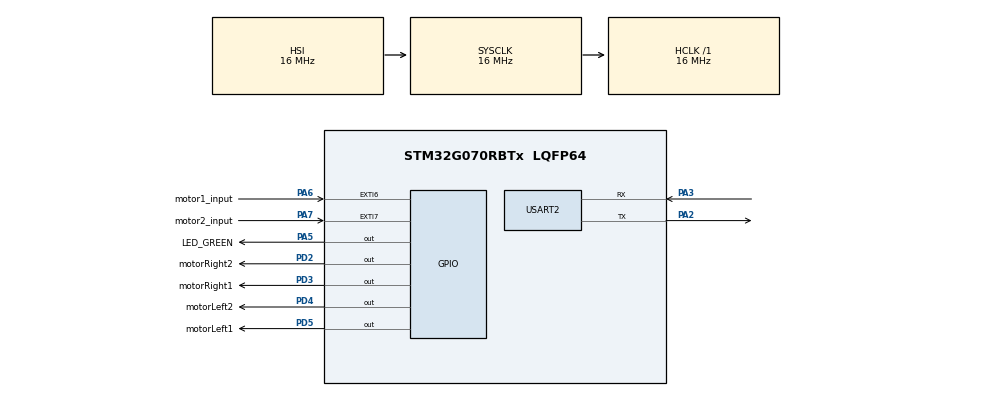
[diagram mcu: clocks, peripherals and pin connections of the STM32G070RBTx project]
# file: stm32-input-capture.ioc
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Mcu.Family=STM32G0
Mcu.Name=STM32G070RBTx
Mcu.Package=LQFP64
NVIC.EXTI4_15_IRQn=true\:0\:0\:false\:false\:true\:true\:true\:true
PA13.GPIO_Label=TMS
PA13.Mode=Serial_Wire
PA13.Signal=SYS_SWDIO
PA14-BOOT0.GPIO_Label=TCK
PA14-BOOT0.Mode=Serial_Wire
PA14-BOOT0.Signal=SYS_SWCLK
PA2.GPIO_PuPd=GPIO_PULLUP
PA2.Mode=Asynchronous
PA2.Signal=USART2_TX
PA3.GPIO_PuPd=GPIO_PULLUP
PA3.Mode=Asynchronous
PA3.Signal=USART2_RX
PA5.GPIO_Label=LED_GREEN
PA5.GPIO_Speed=GPIO_SPEED_FREQ_HIGH
PA5.Signal=GPIO_Output
PA6.GPIO_Label=motor1_input
PA6.GPIO_PuPd=GPIO_PULLDOWN
PA6.Signal=GPXTI6
PA7.GPIO_Label=motor2_input
PA7.GPIO_PuPd=GPIO_PULLDOWN
PA7.Signal=GPXTI7
PC13.Mode=SYS_WakeUp1
PC13.Signal=SYS_WKUP2
PC14-OSC32_IN\ (PC14).Mode=LSE-External-Oscillator
PC14-OSC32_IN\ (PC14).Signal=RCC_OSC32_IN
PC15-OSC32_OUT\ (PC15).Mode=LSE-External-Oscillator
PC15-OSC32_OUT\ (PC15).Signal=RCC_OSC32_OUT
PD2.GPIO_Label=motorRight2
PD2.Signal=GPIO_Output
PD3.GPIO_Label=motorRight1
PD3.Signal=GPIO_Output
PD4.GPIO_Label=motorLeft2
PD4.Signal=GPIO_Output
PD5.GPIO_Label=motorLeft1
PD5.Signal=GPIO_Output
PF0-OSC_IN\ (PF0).GPIO_Label=MCO
PF0-OSC_IN\ (PF0).Mode=HSE-External-Clock-Source
PF0-OSC_IN\ (PF0).Signal=RCC_OSC_IN
ProjectManager.HeapSize=0x200
ProjectManager.StackSize=0x400
ProjectManager.TargetToolchain=STM32CubeIDE
RCC.AHBFreq_Value=16000000
RCC.CortexFreq_Value=16000000
RCC.EXTERNAL_CLOCK_VALUE=12288000
RCC.HCLKFreq_Value=16000000
RCC.HSE_VALUE=8000000
RCC.HSI_VALUE=16000000
RCC.SYSCLKFreq_VALUE=16000000
RCC.VCOOutputFreq_Value=128000000
USART2.VirtualMode-Asynchronous=VM_ASYNC
USART2.WordLength=WORDLENGTH_7B
board=NUCLEO-G070RB

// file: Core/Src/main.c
/* USER CODE BEGIN Header */
/**
  ******************************************************************************
  * @file           : main.c
  * @brief          : Main program body
  ******************************************************************************
  * @attention
  *
  * Copyright (c) 2024 STMicroelectronics.
  * All rights reserved.
  *
  * This software is licensed under terms that can be found in the LICENSE file
  * in the root directory of this software component.
  * If no LICENSE file comes with this software, it is provided AS-IS.
  *
  ******************************************************************************
  */
/* USER CODE END Header */
#include "main.h"

/* USER CODE BEGIN Includes */
#include <stdio.h>
/* USER CODE END Includes */

UART_HandleTypeDef huart2;

/* USER CODE BEGIN PV */
int count1 = 0;
int count2 = 0;
/* USER CODE END PV */

void SystemClock_Config(void);
static void MX_GPIO_Init(void);
static void MX_USART2_UART_Init(void);

/* USER CODE BEGIN 0 */
int _write (int file, char *ptr, int len)
{
	HAL_UART_Transmit(&huart2, (uint8_t *)ptr, len, HAL_MAX_DELAY);
	return len;
}

void stop(void)
{
	HAL_GPIO_WritePin(motorLeft1_GPIO_Port, motorLeft1_Pin, GPIO_PIN_RESET);
	HAL_GPIO_WritePin(motorLeft2_GPIO_Port, motorLeft2_Pin, GPIO_PIN_RESET);
	HAL_GPIO_WritePin(motorRight1_GPIO_Port, motorRight1_Pin, GPIO_PIN_RESET);
	HAL_GPIO_WritePin(motorRight2_GPIO_Port, motorRight2_Pin, GPIO_PIN_RESET);

	count1 = 0;
	count2 = 0;
}

void forward(void)
{
	while (count1 < 500)
	{
	  HAL_GPIO_WritePin(motorLeft1_GPIO_Port, motorLeft1_Pin, GPIO_PIN_SET);
	  HAL_GPIO_WritePin(motorLeft2_GPIO_Port, motorLeft2_Pin, GPIO_PIN_RESET);
	  HAL_GPIO_WritePin(motorRight1_GPIO_Port, motorRight1_Pin, GPIO_PIN_SET);
	  HAL_GPIO_WritePin(motorRight2_GPIO_Port, motorRight2_Pin, GPIO_PIN_RESET);
	}

	stop();
}

//to be corrected
void left(void)
{
	while ((count1 < 500) && (count2 < 500))
	{
		HAL_GPIO_WritePin(motorLeft1_GPIO_Port, motorLeft1_Pin, GPIO_PIN_SET);
		HAL_GPIO_WritePin(motorLeft2_GPIO_Port, motorLeft2_Pin, GPIO_PIN_RESET);
		HAL_GPIO_WritePin(motorRight1_GPIO_Port, motorRight1_Pin, GPIO_PIN_RESET);
		HAL_GPIO_WritePin(motorRight2_GPIO_Port, motorRight2_Pin, GPIO_PIN_SET);
	}

	stop();
}

//to be corrected
void right(void)
{
	while ((count1 < 500) && (count2 < 500))
	{
		HAL_GPIO_WritePin(motorLeft1_GPIO_Port, motorLeft1_Pin, GPIO_PIN_RESET);
		HAL_GPIO_WritePin(motorLeft2_GPIO_Port, motorLeft2_Pin, GPIO_PIN_SET);
		HAL_GPIO_WritePin(motorRight1_GPIO_Port, motorRight1_Pin, GPIO_PIN_SET);
		HAL_GPIO_WritePin(motorRight2_GPIO_Port, motorRight2_Pin, GPIO_PIN_RESET);
	}

	stop();
}

void turnAround(void)
{
	right();
	right();
}

/* USER CODE END 0 */

int main(void)
{

  /* MCU Configuration--------------------------------------------------------*/

  /* Reset of all peripherals, Initializes the Flash interface and the Systick. */
  HAL_Init();

  /* Configure the system clock */
  SystemClock_Config();

  /* Initialize all configured peripherals */
  MX_GPIO_Init();
  MX_USART2_UART_Init();
  /* USER CODE BEGIN 2 */

  HAL_GPIO_WritePin(LED_GREEN_GPIO_Port, LED_GREEN_Pin, GPIO_PIN_RESET);

  /* USER CODE END 2 */

  /* Infinite loop */
  while (1)
  {

  }
}

void SystemClock_Config(void)
{
  RCC_OscInitTypeDef RCC_OscInitStruct = {0};
  RCC_ClkInitTypeDef RCC_ClkInitStruct = {0};

  /** Configure the main internal regulator output voltage
  */
  HAL_PWREx_ControlVoltageScaling(PWR_REGULATOR_VOLTAGE_SCALE1);

  /** Initializes the RCC Oscillators according to the specified parameters
  * in the RCC_OscInitTypeDef structure.
  */
  RCC_OscInitStruct.OscillatorType = RCC_OSCILLATORTYPE_HSI;
  RCC_OscInitStruct.HSIState = RCC_HSI_ON;
  RCC_OscInitStruct.HSIDiv = RCC_HSI_DIV1;
  RCC_OscInitStruct.HSICalibrationValue = RCC_HSICALIBRATION_DEFAULT;
  RCC_OscInitStruct.PLL.PLLState = RCC_PLL_NONE;
  if (HAL_RCC_OscConfig(&RCC_OscInitStruct) != HAL_OK)
  {
    Error_Handler();
  }

  /** Initializes the CPU, AHB and APB buses clocks
  */
  RCC_ClkInitStruct.ClockType = RCC_CLOCKTYPE_HCLK|RCC_CLOCKTYPE_SYSCLK
                              |RCC_CLOCKTYPE_PCLK1;
  RCC_ClkInitStruct.SYSCLKSource = RCC_SYSCLKSOURCE_HSI;
  RCC_ClkInitStruct.AHBCLKDivider = RCC_SYSCLK_DIV1;
  RCC_ClkInitStruct.APB1CLKDivider = RCC_HCLK_DIV1;

  if (HAL_RCC_ClockConfig(&RCC_ClkInitStruct, FLASH_LATENCY_0) != HAL_OK)
  {
    Error_Handler();
  }
}

static void MX_USART2_UART_Init(void)
{

  huart2.Instance = USART2;
  huart2.Init.BaudRate = 115200;
  huart2.Init.WordLength = UART_WORDLENGTH_7B;
  huart2.Init.StopBits = UART_STOPBITS_1;
  huart2.Init.Parity = UART_PARITY_NONE;
  huart2.Init.Mode = UART_MODE_TX_RX;
  huart2.Init.HwFlowCtl = UART_HWCONTROL_NONE;
  huart2.Init.OverSampling = UART_OVERSAMPLING_16;
  huart2.Init.OneBitSampling = UART_ONE_BIT_SAMPLE_DISABLE;
  huart2.Init.ClockPrescaler = UART_PRESCALER_DIV1;
  huart2.AdvancedInit.AdvFeatureInit = UART_ADVFEATURE_NO_INIT;
  if (HAL_UART_Init(&huart2) != HAL_OK)
  {
    Error_Handler();
  }
  if (HAL_UARTEx_SetTxFifoThreshold(&huart2, UART_TXFIFO_THRESHOLD_1_8) != HAL_OK)
  {
    Error_Handler();
  }
  if (HAL_UARTEx_SetRxFifoThreshold(&huart2, UART_RXFIFO_THRESHOLD_1_8) != HAL_OK)
  {
    Error_Handler();
  }
  if (HAL_UARTEx_DisableFifoMode(&huart2) != HAL_OK)
  {
    Error_Handler();
  }

}

static void MX_GPIO_Init(void)
{
  GPIO_InitTypeDef GPIO_InitStruct = {0};

  /* GPIO Ports Clock Enable */
  __HAL_RCC_GPIOC_CLK_ENABLE();
  __HAL_RCC_GPIOF_CLK_ENABLE();
  __HAL_RCC_GPIOA_CLK_ENABLE();
  __HAL_RCC_GPIOD_CLK_ENABLE();

  /*Configure GPIO pin Output Level */
  HAL_GPIO_WritePin(LED_GREEN_GPIO_Port, LED_GREEN_Pin, GPIO_PIN_RESET);

  /*Configure GPIO pin Output Level */
  HAL_GPIO_WritePin(GPIOD, motorRight2_Pin|motorRight1_Pin|motorLeft2_Pin|motorLeft1_Pin, GPIO_PIN_RESET);

  /*Configure GPIO pin : LED_GREEN_Pin */
  GPIO_InitStruct.Pin = LED_GREEN_Pin;
  GPIO_InitStruct.Mode = GPIO_MODE_OUTPUT_PP;
  GPIO_InitStruct.Pull = GPIO_NOPULL;
  GPIO_InitStruct.Speed = GPIO_SPEED_FREQ_HIGH;
  HAL_GPIO_Init(LED_GREEN_GPIO_Port, &GPIO_InitStruct);

  /*Configure GPIO pins : motor1_input_Pin motor2_input_Pin */
  GPIO_InitStruct.Pin = motor1_input_Pin|motor2_input_Pin;
  GPIO_InitStruct.Mode = GPIO_MODE_IT_RISING;
  GPIO_InitStruct.Pull = GPIO_PULLDOWN;
  HAL_GPIO_Init(GPIOA, &GPIO_InitStruct);

  /*Configure GPIO pins : motorRight2_Pin motorRight1_Pin motorLeft2_Pin motorLeft1_Pin */
  GPIO_InitStruct.Pin = motorRight2_Pin|motorRight1_Pin|motorLeft2_Pin|motorLeft1_Pin;
  GPIO_InitStruct.Mode = GPIO_MODE_OUTPUT_PP;
  GPIO_InitStruct.Pull = GPIO_NOPULL;
  GPIO_InitStruct.Speed = GPIO_SPEED_FREQ_LOW;
  HAL_GPIO_Init(GPIOD, &GPIO_InitStruct);

  /* EXTI interrupt init*/
  HAL_NVIC_SetPriority(EXTI4_15_IRQn, 0, 0);
  HAL_NVIC_EnableIRQ(EXTI4_15_IRQn);

}

/* USER CODE BEGIN 4 */
void HAL_GPIO_EXTI_Rising_Callback(uint16_t GPIO_Pin)
{

  if (GPIO_Pin == motor1_input_Pin)
  {
	  if(HAL_GPIO_ReadPin(motor1_input_GPIO_Port, motor1_input_Pin))
		  count1++;
  }

  if (count >= 500)
  {
	  HAL_GPIO_WritePin(LED_GREEN_GPIO_Port, LED_GREEN_Pin, GPIO_PIN_SET);
  }
}
/* USER CODE END 4 */

void Error_Handler(void)
{
  __disable_irq();
  while (1)
  {
  }
}
